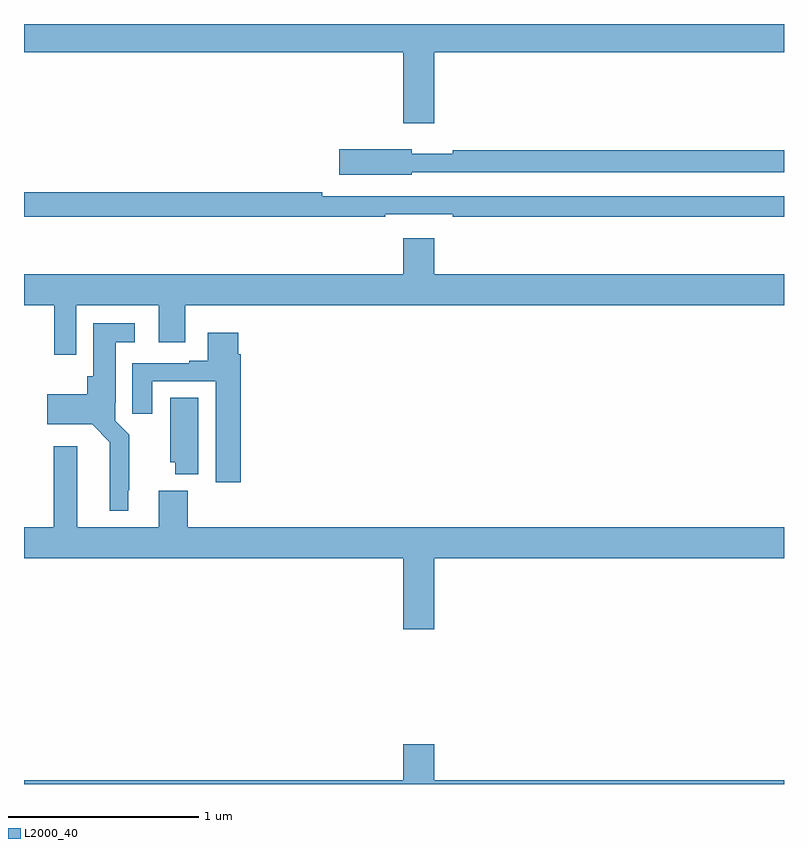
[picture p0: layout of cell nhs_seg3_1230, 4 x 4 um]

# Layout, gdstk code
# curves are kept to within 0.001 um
import gdstk
lib = gdstk.Library(unit=1e-6, precision=1e-09)
def P(c, l, *ps):  # polygons
    for p in ps: c.add(gdstk.Polygon(p, *l))
L2000_40 = (2000, 40)

nhs_seg3_1230 = lib.new_cell('nhs_seg3_1230')
P(nhs_seg3_1230, L2000_40, [(177.16,698.252),(179,698.252),(179,698.4),(175,698.4),(175,698.252),(176.996,698.252),(176.996,697.878),(177.16,697.878)],
  [(177.042,697.62),(179,697.62),(179,697.736),(177.256,697.736),(177.256,697.717),(177.042,697.717),(177.042,697.742),(176.658,697.742),(176.658,697.607),(177.042,697.607)],
  [(176.9,697.398),(177.256,697.398),(177.256,697.386),(179,697.386),(179,697.494),(176.57,697.494),(176.57,697.514),(175,697.514),(175,697.386),(176.9,697.386)],
  [(175.275,696.92),(175.709,696.92),(175.709,696.726),(175.849,696.726),(175.849,696.92),(179,696.92),(179,697.084),(177.16,697.084),(177.16,697.273),(176.996,697.273),(176.996,697.084),(175,697.084),(175,696.92),(175.159,696.92),(175.159,696.66),(175.275,696.66)],
  [(175.549,695.947),(175.553,695.947),(175.553,696.238),(175.479,696.312),(175.479,696.406),(175.483,696.406),(175.483,696.725),(175.582,696.725),(175.582,696.826),(175.364,696.826),(175.364,696.546),(175.334,696.546),(175.334,696.451),(175.122,696.451),(175.122,696.293),(175.359,696.293),(175.452,696.2),(175.451,695.837),(175.549,695.837)],
  [(176.141,696.662),(176.128,696.662),(176.128,696.775),(175.967,696.775),(175.967,696.628),(175.871,696.628),(175.871,696.615),(175.571,696.615),(175.571,696.348),(175.675,696.348),(175.675,696.519),(176.009,696.519),(176.009,695.988),(176.141,695.988)],
  [(175.918,696.434),(175.769,696.434),(175.769,696.093),(175.796,696.093),(175.796,696.029),(175.918,696.029)],
  [(177.16,695.588),(179,695.588),(179,695.752),(175.862,695.752),(175.862,695.944),(175.709,695.944),(175.709,695.752),(175.279,695.752),(175.279,696.178),(175.157,696.178),(175.157,695.752),(175,695.752),(175,695.588),(176.996,695.588),(176.996,695.214),(177.16,695.214)],
  [(179,694.42),(177.16,694.42),(177.16,694.609),(176.996,694.609),(176.996,694.42),(175,694.42),(175,694.4),(179,694.4)])

lib.write_gds('nhs_seg3_1230.gds')
